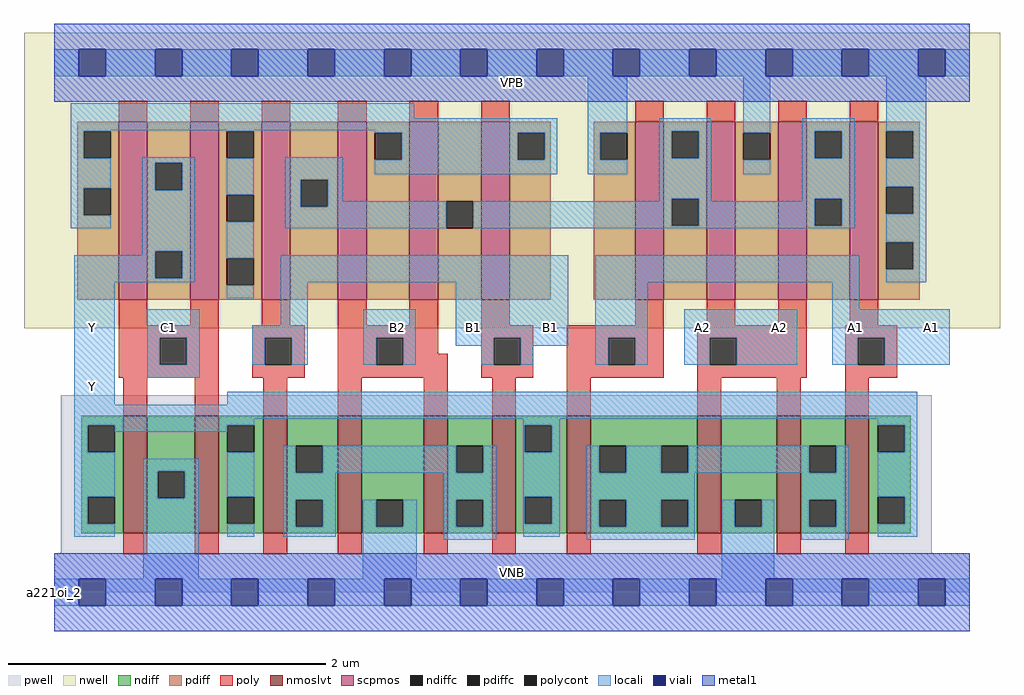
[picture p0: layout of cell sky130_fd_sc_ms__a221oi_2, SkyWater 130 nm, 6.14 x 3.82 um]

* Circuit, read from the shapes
.subckt sky130_fd_sc_ms__a221oi_2 A1 A2 B1 B2 C1 VGND VNB VPB VPWR Y
XM1 VGND C1 Y VNB sky130_fd_pr__nfet_01v8_lvt w=0.74 l=0.15 m=2
XM2 n1 B1 Y VNB sky130_fd_pr__nfet_01v8_lvt w=0.74 l=0.15 m=2
XM3 VGND B2 n1 VNB sky130_fd_pr__nfet_01v8_lvt w=0.74 l=0.15 m=2
XM4 n2 A1 Y VNB sky130_fd_pr__nfet_01v8_lvt w=0.74 l=0.15 m=2
XM5 VGND A2 n2 VNB sky130_fd_pr__nfet_01v8_lvt w=0.74 l=0.15 m=2
XM6 Y C1 n3 VPB sky130_fd_pr__pfet_01v8 w=1.12 l=0.18 m=2
XM7 n4 B1 n3 VPB sky130_fd_pr__pfet_01v8 w=1.12 l=0.18 m=2
XM8 n3 B2 n4 VPB sky130_fd_pr__pfet_01v8 w=1.12 l=0.18 m=2
XM9 n4 A1 VPWR VPB sky130_fd_pr__pfet_01v8 w=1.12 l=0.18 m=2
XM10 VPWR A2 n4 VPB sky130_fd_pr__pfet_01v8 w=1.12 l=0.18 m=2
.ends

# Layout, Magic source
magic
tech sky130A
magscale 1 2
<< nwell >>
rect -38 332 1190 704
<< pwell >>
rect 8 49 1104 248
rect 0 0 1152 49
<< scpmos >>
rect 81 368 117 592
rect 171 368 207 592
rect 261 368 297 592
rect 357 368 393 592
rect 447 368 483 592
rect 537 368 573 592
rect 731 368 767 592
rect 821 368 857 592
rect 911 368 947 592
rect 1001 368 1037 592
<< nmoslvt >>
rect 87 74 117 222
rect 177 74 207 222
rect 263 74 293 222
rect 357 74 387 222
rect 465 74 495 222
rect 551 74 581 222
rect 645 74 675 222
rect 809 74 839 222
rect 909 74 939 222
rect 995 74 1025 222
<< ndiff >>
rect 34 210 87 222
rect 34 176 42 210
rect 76 176 87 210
rect 34 120 87 176
rect 34 86 42 120
rect 76 86 87 120
rect 34 74 87 86
rect 117 152 177 222
rect 117 118 130 152
rect 164 118 177 152
rect 117 74 177 118
rect 207 210 263 222
rect 207 176 218 210
rect 252 176 263 210
rect 207 120 263 176
rect 207 86 218 120
rect 252 86 263 120
rect 207 74 263 86
rect 293 184 357 222
rect 293 150 304 184
rect 338 150 357 184
rect 293 116 357 150
rect 293 82 304 116
rect 338 82 357 116
rect 293 74 357 82
rect 387 116 465 222
rect 387 82 405 116
rect 439 82 465 116
rect 387 74 465 82
rect 495 184 551 222
rect 495 150 506 184
rect 540 150 551 184
rect 495 116 551 150
rect 495 82 506 116
rect 540 82 551 116
rect 495 74 551 82
rect 581 210 645 222
rect 581 176 592 210
rect 626 176 645 210
rect 581 120 645 176
rect 581 86 592 120
rect 626 86 645 120
rect 581 74 645 86
rect 675 184 809 222
rect 675 150 686 184
rect 720 150 764 184
rect 798 150 809 184
rect 675 116 809 150
rect 675 82 686 116
rect 720 82 764 116
rect 798 82 809 116
rect 675 74 809 82
rect 839 116 909 222
rect 839 82 856 116
rect 890 82 909 116
rect 839 74 909 82
rect 939 184 995 222
rect 939 150 950 184
rect 984 150 995 184
rect 939 116 995 150
rect 939 82 950 116
rect 984 82 995 116
rect 939 74 995 82
rect 1025 210 1078 222
rect 1025 176 1036 210
rect 1070 176 1078 210
rect 1025 120 1078 176
rect 1025 86 1036 120
rect 1070 86 1078 120
rect 1025 74 1078 86
<< pdiff >>
rect 29 580 81 592
rect 29 546 37 580
rect 71 546 81 580
rect 29 508 81 546
rect 29 474 37 508
rect 71 474 81 508
rect 29 368 81 474
rect 117 540 171 592
rect 117 506 127 540
rect 161 506 171 540
rect 117 429 171 506
rect 117 395 127 429
rect 161 395 171 429
rect 117 368 171 395
rect 207 580 261 592
rect 207 546 217 580
rect 251 546 261 580
rect 207 500 261 546
rect 207 466 217 500
rect 251 466 261 500
rect 207 420 261 466
rect 207 386 217 420
rect 251 386 261 420
rect 207 368 261 386
rect 297 519 357 592
rect 297 485 310 519
rect 344 485 357 519
rect 297 368 357 485
rect 393 578 447 592
rect 393 544 403 578
rect 437 544 447 578
rect 393 368 447 544
rect 483 492 537 592
rect 483 458 493 492
rect 527 458 537 492
rect 483 368 537 458
rect 573 578 625 592
rect 573 544 583 578
rect 617 544 625 578
rect 573 368 625 544
rect 679 578 731 592
rect 679 544 687 578
rect 721 544 731 578
rect 679 368 731 544
rect 767 580 821 592
rect 767 546 777 580
rect 811 546 821 580
rect 767 495 821 546
rect 767 461 777 495
rect 811 461 821 495
rect 767 368 821 461
rect 857 578 911 592
rect 857 544 867 578
rect 901 544 911 578
rect 857 368 911 544
rect 947 580 1001 592
rect 947 546 957 580
rect 991 546 1001 580
rect 947 495 1001 546
rect 947 461 957 495
rect 991 461 1001 495
rect 947 368 1001 461
rect 1037 580 1089 592
rect 1037 546 1047 580
rect 1081 546 1089 580
rect 1037 510 1089 546
rect 1037 476 1047 510
rect 1081 476 1089 510
rect 1037 440 1089 476
rect 1037 406 1047 440
rect 1081 406 1089 440
rect 1037 368 1089 406
<< ndiffc >>
rect 42 176 76 210
rect 42 86 76 120
rect 130 118 164 152
rect 218 176 252 210
rect 218 86 252 120
rect 304 150 338 184
rect 304 82 338 116
rect 405 82 439 116
rect 506 150 540 184
rect 506 82 540 116
rect 592 176 626 210
rect 592 86 626 120
rect 686 150 720 184
rect 764 150 798 184
rect 686 82 720 116
rect 764 82 798 116
rect 856 82 890 116
rect 950 150 984 184
rect 950 82 984 116
rect 1036 176 1070 210
rect 1036 86 1070 120
<< pdiffc >>
rect 37 546 71 580
rect 37 474 71 508
rect 127 506 161 540
rect 127 395 161 429
rect 217 546 251 580
rect 217 466 251 500
rect 217 386 251 420
rect 310 485 344 519
rect 403 544 437 578
rect 493 458 527 492
rect 583 544 617 578
rect 687 544 721 578
rect 777 546 811 580
rect 777 461 811 495
rect 867 544 901 578
rect 957 546 991 580
rect 957 461 991 495
rect 1047 546 1081 580
rect 1047 476 1081 510
rect 1047 406 1081 440
<< poly >>
rect 81 592 117 618
rect 171 592 207 618
rect 261 592 297 618
rect 357 592 393 618
rect 447 592 483 618
rect 537 592 573 618
rect 731 592 767 618
rect 821 592 857 618
rect 911 592 947 618
rect 1001 592 1037 618
rect 81 336 117 368
rect 171 336 207 368
rect 261 336 297 368
rect 357 336 393 368
rect 447 336 483 368
rect 81 320 207 336
rect 81 286 133 320
rect 167 286 207 320
rect 81 270 207 286
rect 249 320 315 336
rect 249 286 265 320
rect 299 286 315 320
rect 249 270 315 286
rect 357 320 483 336
rect 357 286 405 320
rect 439 300 483 320
rect 537 336 573 368
rect 731 336 767 368
rect 821 336 857 368
rect 911 336 947 368
rect 1001 336 1037 368
rect 537 320 603 336
rect 439 286 495 300
rect 357 270 495 286
rect 537 286 553 320
rect 587 286 603 320
rect 537 270 603 286
rect 645 320 767 336
rect 645 286 697 320
rect 731 286 767 320
rect 645 270 767 286
rect 809 320 947 336
rect 809 286 825 320
rect 859 286 947 320
rect 809 270 947 286
rect 995 320 1061 336
rect 995 286 1011 320
rect 1045 286 1061 320
rect 995 270 1061 286
rect 87 222 117 270
rect 177 222 207 270
rect 263 222 293 270
rect 357 222 387 270
rect 465 222 495 270
rect 551 222 581 270
rect 645 222 675 270
rect 809 222 839 270
rect 909 222 939 270
rect 995 222 1025 270
rect 87 48 117 74
rect 177 48 207 74
rect 263 48 293 74
rect 357 48 387 74
rect 465 48 495 74
rect 551 48 581 74
rect 645 48 675 74
rect 809 48 839 74
rect 909 48 939 74
rect 995 48 1025 74
<< polycont >>
rect 133 286 167 320
rect 265 286 299 320
rect 405 286 439 320
rect 553 286 587 320
rect 697 286 731 320
rect 825 286 859 320
rect 1011 286 1045 320
<< locali >>
rect 0 649 31 683
rect 65 649 127 683
rect 161 649 223 683
rect 257 649 319 683
rect 353 649 415 683
rect 449 649 511 683
rect 545 649 607 683
rect 641 649 703 683
rect 737 649 799 683
rect 833 649 895 683
rect 929 649 991 683
rect 1025 649 1087 683
rect 1121 649 1152 683
rect 21 596 453 615
rect 21 581 633 596
rect 21 580 71 581
rect 21 546 37 580
rect 217 580 251 581
rect 21 508 71 546
rect 21 474 37 508
rect 21 458 71 474
rect 111 540 177 547
rect 111 506 127 540
rect 161 506 177 540
rect 111 429 177 506
rect 111 424 127 429
rect 25 395 127 424
rect 161 395 177 429
rect 25 390 177 395
rect 403 578 633 581
rect 217 500 251 546
rect 217 420 251 466
rect 291 519 363 547
rect 437 544 583 578
rect 617 544 633 578
rect 403 526 633 544
rect 671 578 721 649
rect 671 544 687 578
rect 671 526 721 544
rect 761 580 827 596
rect 761 546 777 580
rect 811 546 827 580
rect 291 485 310 519
rect 344 492 363 519
rect 761 495 827 546
rect 867 578 901 649
rect 867 526 901 544
rect 941 580 1007 596
rect 941 546 957 580
rect 991 546 1007 580
rect 761 492 777 495
rect 344 485 493 492
rect 291 458 493 485
rect 527 461 777 492
rect 811 492 827 495
rect 941 495 1007 546
rect 941 492 957 495
rect 811 461 957 492
rect 991 461 1007 495
rect 527 458 1007 461
rect 1047 580 1097 649
rect 1081 546 1097 580
rect 1047 510 1097 546
rect 1081 476 1097 510
rect 1047 440 1097 476
rect 25 236 76 390
rect 217 370 251 386
rect 285 390 647 424
rect 117 320 183 356
rect 285 336 319 390
rect 117 286 133 320
rect 167 286 183 320
rect 249 320 319 336
rect 249 286 265 320
rect 299 286 319 320
rect 389 320 455 356
rect 389 286 405 320
rect 439 286 455 320
rect 505 320 647 390
rect 505 310 553 320
rect 537 286 553 310
rect 587 310 647 320
rect 681 390 1013 424
rect 1081 406 1097 440
rect 1047 390 1097 406
rect 681 320 747 390
rect 979 356 1013 390
rect 587 286 603 310
rect 681 286 697 320
rect 731 286 747 320
rect 793 320 935 356
rect 793 286 825 320
rect 859 286 935 320
rect 979 320 1127 356
rect 979 286 1011 320
rect 1045 286 1127 320
rect 117 270 183 286
rect 218 236 1086 252
rect 25 218 1086 236
rect 25 210 252 218
rect 25 176 42 210
rect 76 202 218 210
rect 25 120 76 176
rect 590 210 636 218
rect 25 86 42 120
rect 25 70 76 86
rect 112 152 182 168
rect 112 118 130 152
rect 164 118 182 152
rect 112 17 182 118
rect 218 120 252 176
rect 218 70 252 86
rect 288 150 304 184
rect 338 150 506 184
rect 540 150 556 184
rect 288 116 354 150
rect 490 116 556 150
rect 288 82 304 116
rect 338 82 354 116
rect 288 70 354 82
rect 388 82 405 116
rect 439 82 456 116
rect 388 17 456 82
rect 490 82 506 116
rect 540 82 556 116
rect 490 66 556 82
rect 590 176 592 210
rect 626 176 636 210
rect 1036 210 1086 218
rect 590 120 636 176
rect 590 86 592 120
rect 626 86 636 120
rect 590 70 636 86
rect 670 150 686 184
rect 720 150 764 184
rect 798 150 950 184
rect 984 150 1000 184
rect 670 116 806 150
rect 940 116 1000 150
rect 670 82 686 116
rect 720 82 764 116
rect 798 82 806 116
rect 670 66 806 82
rect 840 82 856 116
rect 890 82 906 116
rect 840 17 906 82
rect 940 82 950 116
rect 984 82 1000 116
rect 940 66 1000 82
rect 1070 176 1086 210
rect 1036 120 1086 176
rect 1070 86 1086 120
rect 1036 70 1086 86
rect 0 -17 31 17
rect 65 -17 127 17
rect 161 -17 223 17
rect 257 -17 319 17
rect 353 -17 415 17
rect 449 -17 511 17
rect 545 -17 607 17
rect 641 -17 703 17
rect 737 -17 799 17
rect 833 -17 895 17
rect 929 -17 991 17
rect 1025 -17 1087 17
rect 1121 -17 1152 17
<< viali >>
rect 31 649 65 683
rect 127 649 161 683
rect 223 649 257 683
rect 319 649 353 683
rect 415 649 449 683
rect 511 649 545 683
rect 607 649 641 683
rect 703 649 737 683
rect 799 649 833 683
rect 895 649 929 683
rect 991 649 1025 683
rect 1087 649 1121 683
rect 31 -17 65 17
rect 127 -17 161 17
rect 223 -17 257 17
rect 319 -17 353 17
rect 415 -17 449 17
rect 511 -17 545 17
rect 607 -17 641 17
rect 703 -17 737 17
rect 799 -17 833 17
rect 895 -17 929 17
rect 991 -17 1025 17
rect 1087 -17 1121 17
<< metal1 >>
rect 0 683 1152 715
rect 0 649 31 683
rect 65 649 127 683
rect 161 649 223 683
rect 257 649 319 683
rect 353 649 415 683
rect 449 649 511 683
rect 545 649 607 683
rect 641 649 703 683
rect 737 649 799 683
rect 833 649 895 683
rect 929 649 991 683
rect 1025 649 1087 683
rect 1121 649 1152 683
rect 0 617 1152 649
rect 0 17 1152 49
rect 0 -17 31 17
rect 65 -17 127 17
rect 161 -17 223 17
rect 257 -17 319 17
rect 353 -17 415 17
rect 449 -17 511 17
rect 545 -17 607 17
rect 641 -17 703 17
rect 737 -17 799 17
rect 833 -17 895 17
rect 929 -17 991 17
rect 1025 -17 1087 17
rect 1121 -17 1152 17
rect 0 -49 1152 -17
<< labels >>
flabel pwell s 0 0 1152 49 0 FreeSans 200 0 0 0 VNB
port 7 nsew ground bidirectional
flabel nwell s 0 617 1152 666 0 FreeSans 200 0 0 0 VPB
port 8 nsew power bidirectional
rlabel comment s 0 0 0 0 4 a221oi_2
flabel metal1 s 0 617 1152 666 0 FreeSans 340 0 0 0 VPWR
port 9 nsew power bidirectional
flabel metal1 s 0 0 1152 49 0 FreeSans 340 0 0 0 VGND
port 6 nsew ground bidirectional
flabel locali s 31 242 65 276 0 FreeSans 340 0 0 0 Y
port 10 nsew signal output
flabel locali s 31 316 65 350 0 FreeSans 340 0 0 0 Y
port 10 nsew signal output
flabel locali s 415 316 449 350 0 FreeSans 340 0 0 0 B2
port 4 nsew signal input
flabel locali s 511 316 545 350 0 FreeSans 340 0 0 0 B1
port 3 nsew signal input
flabel locali s 607 316 641 350 0 FreeSans 340 0 0 0 B1
port 3 nsew signal input
flabel locali s 799 316 833 350 0 FreeSans 340 0 0 0 A2
port 2 nsew signal input
flabel locali s 895 316 929 350 0 FreeSans 340 0 0 0 A2
port 2 nsew signal input
flabel locali s 991 316 1025 350 0 FreeSans 340 0 0 0 A1
port 1 nsew signal input
flabel locali s 1087 316 1121 350 0 FreeSans 340 0 0 0 A1
port 1 nsew signal input
flabel locali s 127 316 161 350 0 FreeSans 340 0 0 0 C1
port 5 nsew signal input
<< properties >>
string LEFsite unit
string LEFclass CORE
string FIXED_BBOX 0 0 1152 666
string GDS_FILE $PDKPATH/libs.ref/sky130_fd_sc_ms/gds/sky130_fd_sc_ms.gds
string LEFsymmetry X Y
string GDS_END 2867494
string GDS_START 2857852
<< end >>
